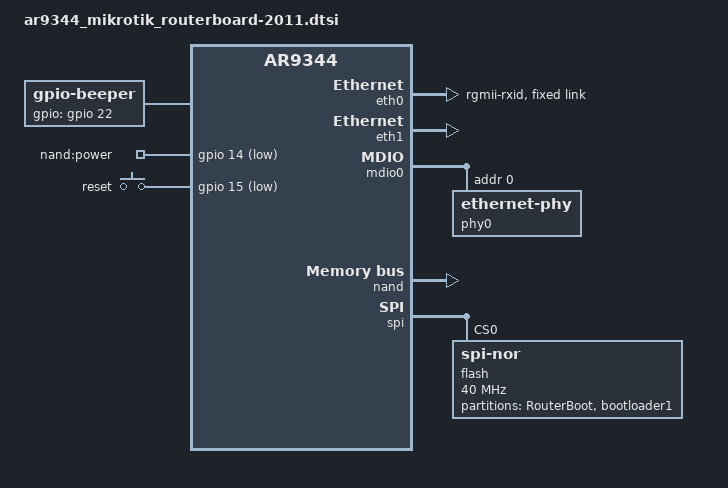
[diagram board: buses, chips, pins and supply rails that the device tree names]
// SPDX-License-Identifier: GPL-2.0-or-later OR MIT

#include "ar9344.dtsi"

#include <dt-bindings/gpio/gpio.h>
#include <dt-bindings/input/input.h>

/ {
	beeper {
		compatible = "gpio-beeper";
		gpios = <&gpio 22 GPIO_ACTIVE_HIGH>;
	};

	gpio-export {
		compatible = "gpio-export";

		gpio_nand_power {
			gpio-export,name = "nand:power";
			gpio-export,output = <0>;
			gpios = <&gpio 14 GPIO_ACTIVE_LOW>;
		};
	};

	keys {
		compatible = "gpio-keys";

		reset {
			debounce-interval = <60>;
			gpios = <&gpio 15 GPIO_ACTIVE_LOW>;
			label = "reset";
			linux,code = <KEY_RESTART>;
		};
	};

};

&builtin_switch {
	/delete-property/ qca,phy4-mii-enable; /* need to delete this to make all 5 FE ports work */
};

&eth0 {
	#address-cells = <1>;
	#size-cells = <0>;
	phy-mode = "rgmii-rxid";
	pll-data = <0x6f000000 0x00000101 0x00001616>; /* default for ar934x, except for 1000M */
	status = "okay";

	fixed-link {
		speed = <1000>;
		full-duplex;
	};

	gmac-config {
		device = <&gmac>;
		rgmii-gmac0 = <1>;
		rxd-delay = <1>;
		rxdv-delay = <1>;
	};

	port@0 {
		compatible = "swconfig,port";
		reg = <0>;
		swconfig,segment = "lan";
		swconfig,portmap = <1 1>;
	};

	port@1 {
		compatible = "swconfig,port";
		reg = <1>;
		swconfig,segment = "lan";
		swconfig,portmap = <2 2>;
	};

	port@2 {
		compatible = "swconfig,port";
		reg = <2>;
		swconfig,segment = "lan";
		swconfig,portmap = <3 3>;
	};

	port@3 {
		compatible = "swconfig,port";
		reg = <3>;
		swconfig,segment = "lan";
		swconfig,portmap = <4 4>;
	};

	port@4 {
		compatible = "swconfig,port";
		reg = <4>;
		swconfig,segment = "lan";
		swconfig,portmap = <5 5>;
	};

	port@5 {
		compatible = "swconfig,port";
		reg = <5>;
		swconfig,segment = "lan";
		swconfig,portmap = <6 6>;
	};
};

&eth1 {
	status = "okay";

	gmac-config {
		device = <&gmac>;
		switch-phy-swap = <0>;
		switch-only-mode = <1>;
	};
};

&mdio0 {
	phy-mask = <0>;
	status = "okay";

	phy0: ethernet-phy@0 {
		reg = <0>;

		qca,ar8327-initvals = <
			0x04 0x07c00000 /* PORT0 PAD MODE CTRL: Mac0_rgmii_en | Mac0_rgmii_txclk_delay_en | Mac0_rgmii_rxclk_delay_en | Mac0_rgmii_txclk_delay_sel3 | Mac0_rgmii_rxclk_delay_sel0 */
			0x0c 0x00000080 /* PORT6 PAD MODE CTRL: Mac6_sgmii_en */
			0x10 0x81000080 /* PWS_REG: POWER_ON_STRAP | LED_OPEN_EN_CSR | SERDES_AEN*/
			0x50 0xc731c731 /* LED_CTRL0 */
			0x54 0x00000000 /* LED_CTRL1 */
			0x58 0x00008000 /* LED_CTRL2: 5A: disable LCD power */
			0x5c 0x0230c300 /* LED_CTRL3: 5C: enable SFP power */
			0x7c 0x0000007e /* PORT0_STATUS: DUPLEX_MODE_0 | RX_FLOW_EN_0 | TX_FLOW_EN_0 | RXMAC_EN_0 | TXMAC_EN_0 | SPEED_0 1000M */
			0x94 0x0000007e /* PORT6_STATUS: DUPLEX_MODE_0 | RX_FLOW_EN_0 | TX_FLOW_EN_0 | RXMAC_EN_0 | TXMAC_EN_0 | SPEED_0 1000M */
			0xe0 0xc701e7d0 /* SGMII_CTRL */
		>;
	};
};

&nand {
	nand-ecc-mode = "soft";
	qca,nand-scan-fixup;
	qca,nand-swap-dma;
	status = "okay";

	partitions {
		compatible = "fixed-partitions";
		#address-cells = <1>;
		#size-cells = <1>;

		partition@0 {
			label = "booter";
			reg = <0x0000000 0x0040000>;
			read-only;
		};

		partition@40000 {
			label = "kernel";
			reg = <0x0040000 0x03c0000>;
		};

		partition@400000 {
			label = "ubi";
			reg = <0x0400000 0x7c00000>;
		};
	};
};

&pinmux {
	pinctrl-0 = <&jtag_disable_pins>;
};

&spi {
	status = "okay";

	flash@0 {
		compatible = "jedec,spi-nor";
		reg = <0>;
		spi-max-frequency = <40000000>;

		partitions {
			compatible = "fixed-partitions";
			#address-cells = <1>;
			#size-cells = <1>;

			partition@0 {
				label = "RouterBoot";
				reg = <0x0 0x10000>;
				read-only;
				compatible = "mikrotik,routerboot-partitions";
				#address-cells = <1>;
				#size-cells = <1>;

				partition@0 {
					label = "bootloader1";
					reg = <0x0 0x0>;
					read-only;
				};

				hard_config: hard_config {
					read-only;
				};

				bios {
					size = <0x1000>;
					read-only;
				};

				soft_config {
				};
			};
		};
	};
};
